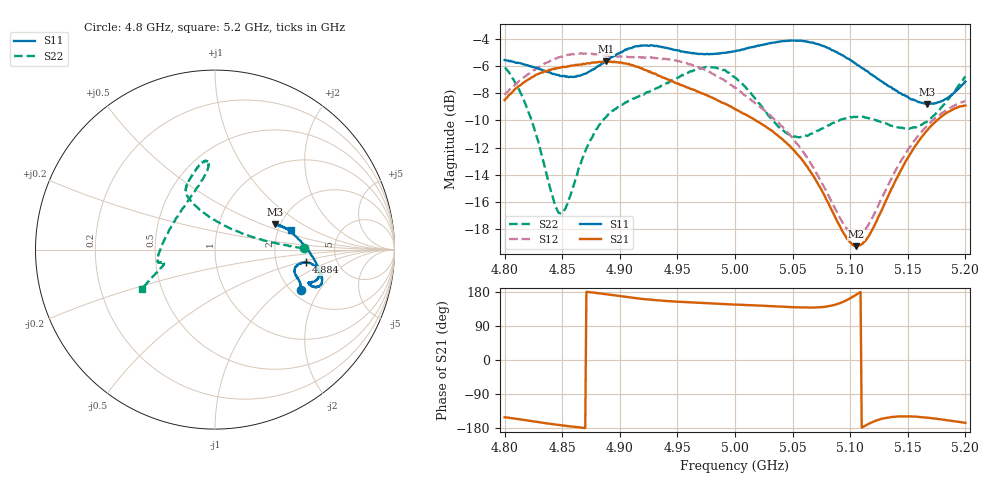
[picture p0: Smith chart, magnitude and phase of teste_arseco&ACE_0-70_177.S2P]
! Network Analyzer HP8722D
! Hewlett-Packard
! Data name: Linha & Wilkinson
! Saver's name: Rodrigo Anjos
! Comments: Teste da utilização de aquisição
! continua pelo VNA HP8722D
! Time and date: 8/5/2025 14:14
!  Frequency  S11  S21  S12  S22
# HZ  S  MA R 50
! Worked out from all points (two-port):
!   401 points, 4.8 GHz to 5.2 GHz, reference 50 ohm
!   highest |S21| = -5.64 dB at 4.888 GHz (marker M1); lowest = -19.3 dB at 5.105 GHz (marker M2)
!   |S21| within 3 dB of the highest: start of sweep to 4.988 GHz
!   lowest |S11| = -8.8 dB at 5.167 GHz (marker M3), VSWR 2.14, Z = 93.9 + j30.6 ohm
!   |S11| at or under -10 dB: nowhere
!   |S22| runs from -16.9 to -6.1 dB; largest |S21 - S12| = 1.1
!   S11 on the Smith chart (normalised r, x): 4.8 GHz: 2.23, -1.39; 4.884 GHz: 2.96, -0.57; 5.2 GHz: 2.36, +0.65
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4.8e9  0.528 -25.2  0.3758 -151.2  0.3929 8.3  0.4943 0.9
4.821e9  0.5032 -20.7  0.4486 -160.3  0.4692 5.2  0.3366 6.3
4.842e9  0.469 -17.3  0.4889 -169.4  0.5275 1.9  0.1638 37.8
4.847e9  0.4647 -16.3  0.4933 -171.4  0.5398 0.9  0.1442 56.2
4.853e9  0.4578 -14.9  0.4977 -173.7  0.5494 -0.2  0.15 79.6
4.867e9  0.4647 -10.8  0.5081 -178.5  0.5576 -2.1  0.2258 108.7
4.884e9  0.5107 -8.0  0.5186 175.2  0.5501 -3.2  0.3112 116.5
4.888e9  0.5242 -8.2  0.5222 173.5  0.5487 -3.3  0.3245 117.3
4.913e9  0.5926 -11.7  0.5004 163.5  0.5421 -2.5  0.382 114.8
4.934e9  0.5926 -16.5  0.4624 156.9  0.5368 -3.4  0.4186 109.3
4.975e9  0.5549 -19.7  0.3918 149.9  0.4827 -7.1  0.4975 96.6
5e9  0.5693 -20.4  0.3475 146.2  0.4187 -6.8  0.4547 94.9
5.042e9  0.6195 -18.7  0.2673 140.5  0.2966 1.0  0.2898 129.1
5.067e9  0.6134 -13.9  0.2004 138.4  0.2156 8.7  0.2829 165.1
5.094e9  0.548 -4.4  0.1219 153.6  0.1314 33.4  0.3199 -173.0
5.105e9  0.5115 0.8  0.1088 172.0  0.1193 54.4  0.3252 -169.3
5.116e9  0.4756 6.2  0.1182 -168.5  0.1309 75.6  0.3219 -167.1
5.134e9  0.4218 15.1  0.1701 -151.3  0.1865 94.3  0.3046 -166.1
5.15e9  0.3858 20.8  0.2301 -148.8  0.2458 99.3  0.2955 -165.0
5.167e9  0.3636 22.9  0.2909 -152.4  0.3029 100.5  0.315 -161.6
5.182e9  0.3778 20.7  0.3334 -158.0  0.3418 100.3  0.3636 -157.6
5.2e9  0.4397 14.6  0.3588 -165.8  0.3729 100.9  0.4594 -151.7
